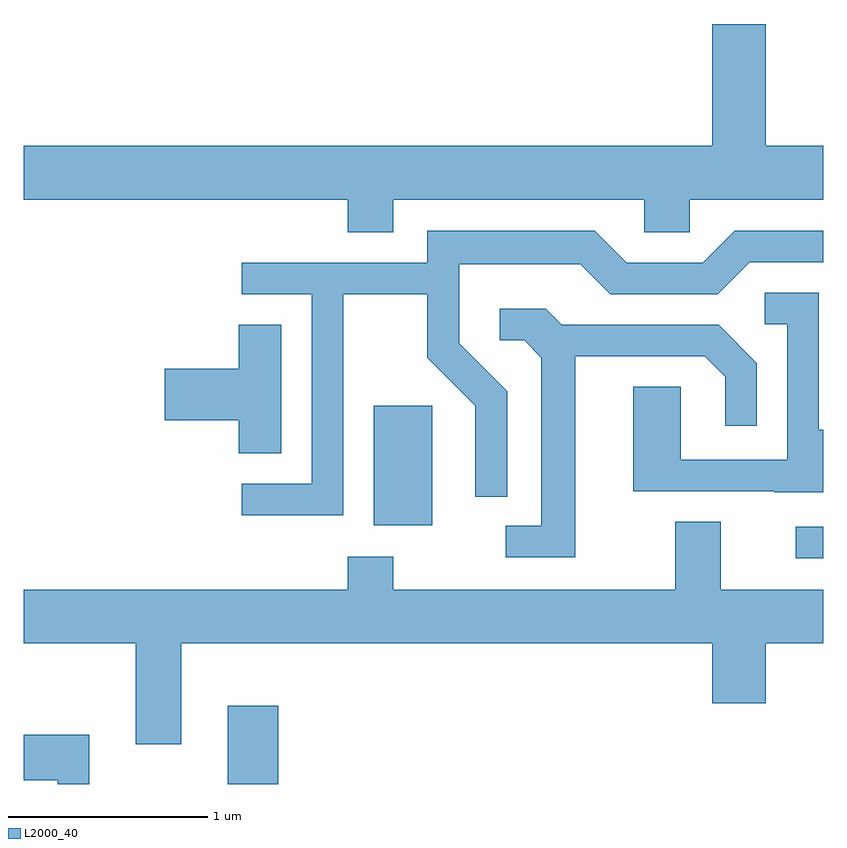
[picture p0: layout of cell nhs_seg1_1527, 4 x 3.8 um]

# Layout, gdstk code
import gdstk
lib = gdstk.Library(unit=1e-6, precision=1e-09)
def R(c, l, rs):  # rectangles x0, y0, x1, y1
    for r in rs: c.add(gdstk.rectangle(r[:2], r[2:], *l))
def P(c, l, *ps):  # polygons
    for p in ps: c.add(gdstk.Polygon(p, *l))
L2000_40 = (2000, 40)

nhs_seg1_1527 = lib.new_cell('nhs_seg1_1527')
R(nhs_seg1_1527, L2000_40, [(232.631,947.712,232.884,948.104), (235.473,948.841,235.611,948.999), (233.361,949.006,233.654,949.604)])
P(nhs_seg1_1527, L2000_40, [(233.459,950.636),(234.716,950.636),(234.716,950.471),(234.944,950.471),(234.944,950.636),(235.611,950.636),(235.611,950.904),(235.324,950.904),(235.324,951.514),(235.056,951.514),(235.056,950.904),(231.611,950.904),(231.611,950.636),(233.231,950.636),(233.231,950.471),(233.459,950.471)],
  [(233.209,950.161),(233.631,950.161),(233.631,949.844),(233.871,949.604),(233.871,949.148),(234.029,949.148),(234.029,949.677),(233.789,949.917),(233.789,950.311),(234.394,950.311),(234.544,950.161),(235.082,950.161),(235.242,950.321),(235.611,950.321),(235.611,950.479),(235.169,950.479),(235.009,950.319),(234.627,950.319),(234.467,950.479),(233.631,950.479),(233.631,950.319),(232.703,950.319),(232.703,950.161),(233.051,950.161),(233.051,949.214),(232.703,949.214),(232.703,949.056),(233.209,949.056)],
  [(235.611,949.484),(235.589,949.484),(235.589,950.169),(235.318,950.169),(235.318,950.011),(235.431,950.011),(235.431,949.334),(234.899,949.334),(234.899,949.699),(234.661,949.699),(234.661,949.176),(235.365,949.176),(235.365,949.171),(235.611,949.171)],
  [(234.369,949.851),(235.019,949.851),(235.121,949.749),(235.121,949.503),(235.279,949.503),(235.279,949.817),(235.087,950.009),(234.302,950.009),(234.222,950.089),(233.993,950.089),(233.993,949.931),(234.114,949.931),(234.201,949.844),(234.201,949.004),(234.023,949.004),(234.023,948.846),(234.369,948.846)],
  [(232.899,950.009),(232.686,950.009),(232.686,949.789),(232.316,949.789),(232.316,949.531),(232.686,949.531),(232.686,949.366),(232.899,949.366)],
  [(232.399,948.416),(235.056,948.416),(235.056,948.116),(235.324,948.116),(235.324,948.416),(235.611,948.416),(235.611,948.684),(235.099,948.684),(235.099,949.024),(234.871,949.024),(234.871,948.684),(233.459,948.684),(233.459,948.849),(233.231,948.849),(233.231,948.684),(231.611,948.684),(231.611,948.416),(232.171,948.416),(232.171,947.911),(232.399,947.911)],
  [(231.939,947.959),(231.611,947.959),(231.611,947.731),(231.781,947.731),(231.781,947.712),(231.939,947.712)])

lib.write_gds('nhs_seg1_1527.gds')
